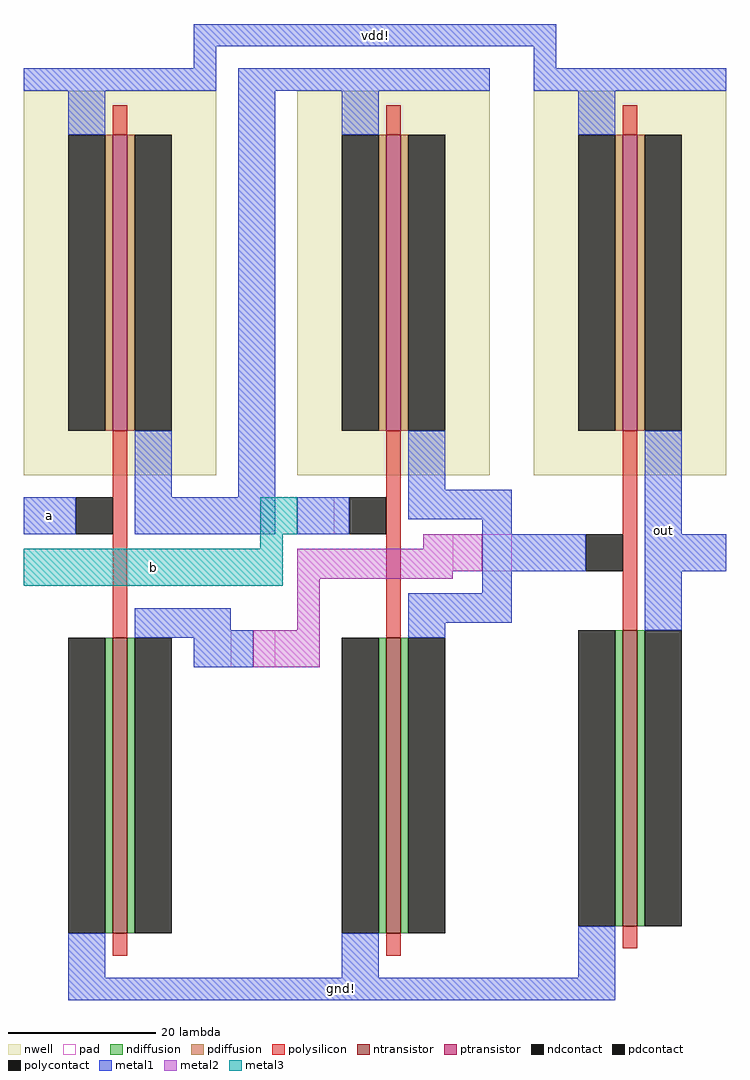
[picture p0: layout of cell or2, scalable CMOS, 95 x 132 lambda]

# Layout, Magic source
magic
tech scmos
<< nwell >>
rect 5 77 31 129
rect 42 77 68 129
rect 74 77 100 129
<< ntransistor >>
rect 17 15 19 55
rect 54 15 56 55
rect 86 16 88 56
<< ptransistor >>
rect 17 83 19 123
rect 54 83 56 123
rect 86 83 88 123
<< ndiffusion >>
rect 16 15 17 55
rect 19 15 20 55
rect 53 15 54 55
rect 56 15 57 55
rect 85 16 86 56
rect 88 16 89 56
<< pdiffusion >>
rect 16 83 17 123
rect 19 83 20 123
rect 53 83 54 123
rect 56 83 57 123
rect 85 83 86 123
rect 88 83 89 123
<< ndcontact >>
rect 11 15 16 55
rect 20 15 25 55
rect 48 15 53 55
rect 57 15 62 55
rect 80 16 85 56
rect 89 16 94 56
<< pdcontact >>
rect 11 83 16 123
rect 20 83 25 123
rect 48 83 53 123
rect 57 83 62 123
rect 80 83 85 123
rect 89 83 94 123
<< polysilicon >>
rect 17 123 19 127
rect 54 123 56 127
rect 86 123 88 127
rect 17 55 19 83
rect 54 55 56 83
rect 86 56 88 83
rect 17 12 19 15
rect 54 12 56 15
rect 86 13 88 16
<< polycontact >>
rect 12 69 17 74
rect 49 69 54 74
rect 81 64 86 69
<< metal1 >>
rect 28 135 77 138
rect 28 132 31 135
rect 74 132 77 135
rect 5 129 31 132
rect 34 129 68 132
rect 74 129 100 132
rect 11 123 16 129
rect 20 74 25 83
rect 34 74 39 129
rect 48 123 53 129
rect 80 123 85 129
rect 57 75 62 83
rect 5 69 12 74
rect 20 69 39 74
rect 42 69 49 74
rect 57 71 71 75
rect 67 69 71 71
rect 89 69 94 83
rect 67 64 81 69
rect 89 64 100 69
rect 67 61 71 64
rect 20 56 33 59
rect 57 57 71 61
rect 20 55 36 56
rect 57 55 62 57
rect 89 56 94 64
rect 28 51 36 55
rect 11 9 16 15
rect 48 9 53 15
rect 80 9 85 16
rect 11 6 85 9
<< metal2 >>
rect 59 67 67 69
rect 42 64 67 67
rect 42 63 63 64
rect 42 56 45 63
rect 36 51 45 56
<< metal3 >>
rect 37 69 42 74
rect 37 67 40 69
rect 5 62 40 67
<< pad >>
rect 42 69 47 74
rect 63 64 71 69
rect 33 51 39 56
<< labels >>
rlabel metal1 5 69 12 74 3 a
rlabel metal3 5 62 40 67 1 b
rlabel metal1 11 6 85 9 1 gnd!
rlabel metal1 89 56 94 83 1 out
rlabel metal1 28 135 77 138 5 vdd!
<< end >>
